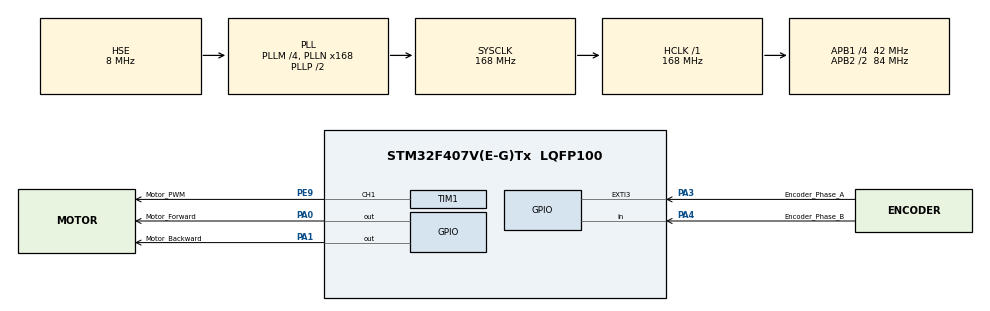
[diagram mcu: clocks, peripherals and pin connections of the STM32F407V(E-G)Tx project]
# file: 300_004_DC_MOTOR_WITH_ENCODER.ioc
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Mcu.Family=STM32F4
Mcu.Name=STM32F407V(E-G)Tx
Mcu.Package=LQFP100
NVIC.EXTI3_IRQn=true\:0\:0\:false\:false\:true\:true\:true\:true
NVIC.PriorityGroup=NVIC_PRIORITYGROUP_4
NVIC.TIM3_IRQn=true\:0\:0\:false\:false\:true\:true\:true\:true
PA0-WKUP.GPIO_Label=Motor_Forward
PA0-WKUP.Signal=GPIO_Output
PA1.GPIO_Label=Motor_Backward
PA1.Signal=GPIO_Output
PA3.GPIO_Label=Encoder_Phase_A
PA3.Signal=GPXTI3
PA4.GPIO_Label=Encoder_Phase_B
PA4.Signal=GPIO_Input
PE9.GPIO_Label=Motor_PWM
PE9.Signal=S_TIM1_CH1
PH0-OSC_IN.Mode=HSE-External-Oscillator
PH0-OSC_IN.Signal=RCC_OSC_IN
PH1-OSC_OUT.Mode=HSE-External-Oscillator
PH1-OSC_OUT.Signal=RCC_OSC_OUT
ProjectManager.HeapSize=0x200
ProjectManager.StackSize=0x400
ProjectManager.TargetToolchain=STM32CubeIDE
RCC.48MHZClocksFreq_Value=84000000
RCC.AHBFreq_Value=168000000
RCC.APB1CLKDivider=RCC_HCLK_DIV4
RCC.APB1Freq_Value=42000000
RCC.APB1TimFreq_Value=84000000
RCC.APB2CLKDivider=RCC_HCLK_DIV2
RCC.APB2Freq_Value=84000000
RCC.APB2TimFreq_Value=168000000
RCC.CortexFreq_Value=168000000
RCC.HCLKFreq_Value=168000000
RCC.HSE_VALUE=8000000
RCC.HSI_VALUE=16000000
RCC.LSE_VALUE=32768
RCC.PLLM=4
RCC.PLLN=168
RCC.PLLSourceVirtual=RCC_PLLSOURCE_HSE
RCC.SYSCLKFreq_VALUE=168000000
RCC.SYSCLKSource=RCC_SYSCLKSOURCE_PLLCLK
RCC.VCOOutputFreq_Value=336000000
SH.S_TIM1_CH1.0=TIM1_CH1,PWM Generation1 CH1
TIM1.Channel-PWM\ Generation1\ CH1=TIM_CHANNEL_1
TIM1.Period=999
TIM1.Prescaler=83
TIM3.Period=1999
TIM3.Prescaler=8399
VP_TIM3_VS_ClockSourceINT.Mode=Internal
board=custom

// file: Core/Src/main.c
/* USER CODE BEGIN Header */
/**
  ******************************************************************************
  * @file           : main.c
  * @brief          : Main program body
  ******************************************************************************
  * @attention
  *
  * Copyright (c) 2025 STMicroelectronics.
  * All rights reserved.
  *
  * This software is licensed under terms that can be found in the LICENSE file
  * in the root directory of this software component.
  * If no LICENSE file comes with this software, it is provided AS-IS.
  *
  ******************************************************************************
  */
/* USER CODE END Header */
#include "main.h"

/* USER CODE BEGIN Includes */
#include "JGB37-520_Encoder.h"
#include "pid_control.h"
/* USER CODE END Includes */

TIM_HandleTypeDef htim1;
TIM_HandleTypeDef htim3;

/* USER CODE BEGIN PV */
volatile int16_t encoderPulse = 0;
volatile int16_t previousEncoderPulse = 0;
volatile int16_t deltaPulse = 0;

pid_param controller;
float setSpeed = 800.0f;
float error;
float pwm;

volatile float rpm = 0;
volatile float angle = 0;
volatile float motorSpeed = 0;
volatile float previousMotorSpeed = 0;
volatile float motorAccerelation = 0;
/* USER CODE END PV */

void SystemClock_Config(void);
static void MX_GPIO_Init(void);
static void MX_TIM1_Init(void);
static void MX_TIM3_Init(void);

int main(void)
{

  /* MCU Configuration--------------------------------------------------------*/

  /* Reset of all peripherals, Initializes the Flash interface and the Systick. */
  HAL_Init();

  /* Configure the system clock */
  SystemClock_Config();

  /* Initialize all configured peripherals */
  MX_GPIO_Init();
  MX_TIM1_Init();
  MX_TIM3_Init();
  /* USER CODE BEGIN 2 */
  HAL_TIM_PWM_Start(&htim1, TIM_CHANNEL_1);
  HAL_TIM_Base_Start_IT(&htim3);
  Motor_Init(1000, 0);
  pidInit(&controller, 1.0f, 0.01f, 0.02f, 0.05f,  200, -200, 1000, -1000, 450, 0);

  /* USER CODE END 2 */

  /* Infinite loop */
  while (1)
  {

    /* USER CODE BEGIN 3 */

	   rpm=Encoder_GetRPM();
	   angle = Encoder_GetAngle();
	   motorAccerelation = Encoder_GetAcceleration();
	   encoderPulse = Encoder_GetEncoderPulse();
	   previousEncoderPulse = Encoder_GetPreviousEncoderPulse();
	   deltaPulse = Encoder_GetDeltaPulse();
  }
  /* USER CODE END 3 */
}

void SystemClock_Config(void)
{
  RCC_OscInitTypeDef RCC_OscInitStruct = {0};
  RCC_ClkInitTypeDef RCC_ClkInitStruct = {0};

  /** Configure the main internal regulator output voltage
  */
  __HAL_RCC_PWR_CLK_ENABLE();
  __HAL_PWR_VOLTAGESCALING_CONFIG(PWR_REGULATOR_VOLTAGE_SCALE1);

  /** Initializes the RCC Oscillators according to the specified parameters
  * in the RCC_OscInitTypeDef structure.
  */
  RCC_OscInitStruct.OscillatorType = RCC_OSCILLATORTYPE_HSE;
  RCC_OscInitStruct.HSEState = RCC_HSE_ON;
  RCC_OscInitStruct.PLL.PLLState = RCC_PLL_ON;
  RCC_OscInitStruct.PLL.PLLSource = RCC_PLLSOURCE_HSE;
  RCC_OscInitStruct.PLL.PLLM = 4;
  RCC_OscInitStruct.PLL.PLLN = 168;
  RCC_OscInitStruct.PLL.PLLP = RCC_PLLP_DIV2;
  RCC_OscInitStruct.PLL.PLLQ = 4;
  if (HAL_RCC_OscConfig(&RCC_OscInitStruct) != HAL_OK)
  {
    Error_Handler();
  }

  /** Initializes the CPU, AHB and APB buses clocks
  */
  RCC_ClkInitStruct.ClockType = RCC_CLOCKTYPE_HCLK|RCC_CLOCKTYPE_SYSCLK
                              |RCC_CLOCKTYPE_PCLK1|RCC_CLOCKTYPE_PCLK2;
  RCC_ClkInitStruct.SYSCLKSource = RCC_SYSCLKSOURCE_PLLCLK;
  RCC_ClkInitStruct.AHBCLKDivider = RCC_SYSCLK_DIV1;
  RCC_ClkInitStruct.APB1CLKDivider = RCC_HCLK_DIV4;
  RCC_ClkInitStruct.APB2CLKDivider = RCC_HCLK_DIV2;

  if (HAL_RCC_ClockConfig(&RCC_ClkInitStruct, FLASH_LATENCY_5) != HAL_OK)
  {
    Error_Handler();
  }
}

static void MX_TIM1_Init(void)
{

  TIM_MasterConfigTypeDef sMasterConfig = {0};
  TIM_OC_InitTypeDef sConfigOC = {0};
  TIM_BreakDeadTimeConfigTypeDef sBreakDeadTimeConfig = {0};

  htim1.Instance = TIM1;
  htim1.Init.Prescaler = 83;
  htim1.Init.CounterMode = TIM_COUNTERMODE_UP;
  htim1.Init.Period = 999;
  htim1.Init.ClockDivision = TIM_CLOCKDIVISION_DIV1;
  htim1.Init.RepetitionCounter = 0;
  htim1.Init.AutoReloadPreload = TIM_AUTORELOAD_PRELOAD_DISABLE;
  if (HAL_TIM_PWM_Init(&htim1) != HAL_OK)
  {
    Error_Handler();
  }
  sMasterConfig.MasterOutputTrigger = TIM_TRGO_RESET;
  sMasterConfig.MasterSlaveMode = TIM_MASTERSLAVEMODE_DISABLE;
  if (HAL_TIMEx_MasterConfigSynchronization(&htim1, &sMasterConfig) != HAL_OK)
  {
    Error_Handler();
  }
  sConfigOC.OCMode = TIM_OCMODE_PWM1;
  sConfigOC.Pulse = 0;
  sConfigOC.OCPolarity = TIM_OCPOLARITY_HIGH;
  sConfigOC.OCNPolarity = TIM_OCNPOLARITY_HIGH;
  sConfigOC.OCFastMode = TIM_OCFAST_DISABLE;
  sConfigOC.OCIdleState = TIM_OCIDLESTATE_RESET;
  sConfigOC.OCNIdleState = TIM_OCNIDLESTATE_RESET;
  if (HAL_TIM_PWM_ConfigChannel(&htim1, &sConfigOC, TIM_CHANNEL_1) != HAL_OK)
  {
    Error_Handler();
  }
  sBreakDeadTimeConfig.OffStateRunMode = TIM_OSSR_DISABLE;
  sBreakDeadTimeConfig.OffStateIDLEMode = TIM_OSSI_DISABLE;
  sBreakDeadTimeConfig.LockLevel = TIM_LOCKLEVEL_OFF;
  sBreakDeadTimeConfig.DeadTime = 0;
  sBreakDeadTimeConfig.BreakState = TIM_BREAK_DISABLE;
  sBreakDeadTimeConfig.BreakPolarity = TIM_BREAKPOLARITY_HIGH;
  sBreakDeadTimeConfig.AutomaticOutput = TIM_AUTOMATICOUTPUT_DISABLE;
  if (HAL_TIMEx_ConfigBreakDeadTime(&htim1, &sBreakDeadTimeConfig) != HAL_OK)
  {
    Error_Handler();
  }
  HAL_TIM_MspPostInit(&htim1);

}

static void MX_TIM3_Init(void)
{

  TIM_ClockConfigTypeDef sClockSourceConfig = {0};
  TIM_MasterConfigTypeDef sMasterConfig = {0};

  htim3.Instance = TIM3;
  htim3.Init.Prescaler = 8399;
  htim3.Init.CounterMode = TIM_COUNTERMODE_UP;
  htim3.Init.Period = 499;
  htim3.Init.ClockDivision = TIM_CLOCKDIVISION_DIV1;
  htim3.Init.AutoReloadPreload = TIM_AUTORELOAD_PRELOAD_DISABLE;
  if (HAL_TIM_Base_Init(&htim3) != HAL_OK)
  {
    Error_Handler();
  }
  sClockSourceConfig.ClockSource = TIM_CLOCKSOURCE_INTERNAL;
  if (HAL_TIM_ConfigClockSource(&htim3, &sClockSourceConfig) != HAL_OK)
  {
    Error_Handler();
  }
  sMasterConfig.MasterOutputTrigger = TIM_TRGO_RESET;
  sMasterConfig.MasterSlaveMode = TIM_MASTERSLAVEMODE_DISABLE;
  if (HAL_TIMEx_MasterConfigSynchronization(&htim3, &sMasterConfig) != HAL_OK)
  {
    Error_Handler();
  }

}

static void MX_GPIO_Init(void)
{
  GPIO_InitTypeDef GPIO_InitStruct = {0};

  /* GPIO Ports Clock Enable */
  __HAL_RCC_GPIOH_CLK_ENABLE();
  __HAL_RCC_GPIOA_CLK_ENABLE();
  __HAL_RCC_GPIOE_CLK_ENABLE();

  /*Configure GPIO pin Output Level */
  HAL_GPIO_WritePin(GPIOA, Motor_Forward_Pin|Motor_Backward_Pin, GPIO_PIN_RESET);

  /*Configure GPIO pins : Motor_Forward_Pin Motor_Backward_Pin */
  GPIO_InitStruct.Pin = Motor_Forward_Pin|Motor_Backward_Pin;
  GPIO_InitStruct.Mode = GPIO_MODE_OUTPUT_PP;
  GPIO_InitStruct.Pull = GPIO_NOPULL;
  GPIO_InitStruct.Speed = GPIO_SPEED_FREQ_LOW;
  HAL_GPIO_Init(GPIOA, &GPIO_InitStruct);

  /*Configure GPIO pin : Encoder_Phase_A_Pin */
  GPIO_InitStruct.Pin = Encoder_Phase_A_Pin;
  GPIO_InitStruct.Mode = GPIO_MODE_IT_RISING;
  GPIO_InitStruct.Pull = GPIO_NOPULL;
  HAL_GPIO_Init(Encoder_Phase_A_GPIO_Port, &GPIO_InitStruct);

  /*Configure GPIO pin : Encoder_Phase_B_Pin */
  GPIO_InitStruct.Pin = Encoder_Phase_B_Pin;
  GPIO_InitStruct.Mode = GPIO_MODE_INPUT;
  GPIO_InitStruct.Pull = GPIO_NOPULL;
  HAL_GPIO_Init(Encoder_Phase_B_GPIO_Port, &GPIO_InitStruct);

  /* EXTI interrupt init*/
  HAL_NVIC_SetPriority(EXTI3_IRQn, 0, 0);
  HAL_NVIC_EnableIRQ(EXTI3_IRQn);

}

/* USER CODE BEGIN 4 */
void HAL_GPIO_EXTI_Callback(uint16_t GPIO_Pin)
{
	Encoder_Update();
}

void HAL_TIM_PeriodElapsedCallback(TIM_HandleTypeDef *htim)
{
  if(htim->Instance == TIM3)
  {
    Encoder_CalculateSpeedAndAcceleration();

    const int basePwm = 600;
    const int maxPwm = 1000;

    motorSpeed = Encoder_GetSpeed();
    error = setSpeed - motorSpeed;
    pidControl(&controller, error);
    pwm = GetPidOutput(&controller);
    if(Encoder_GetSpeed() < 100)
    {
    	pwm = 600 + GetPidOutput(&controller);
    }

    if(pwm > maxPwm) pwm = maxPwm;
    if(pwm < basePwm)  pwm = basePwm;
    Motor_SetPwmDutyCycle(pwm);
  }
}
/* USER CODE END 4 */

void Error_Handler(void)
{
  __disable_irq();
  while (1)
  {
  }
}
